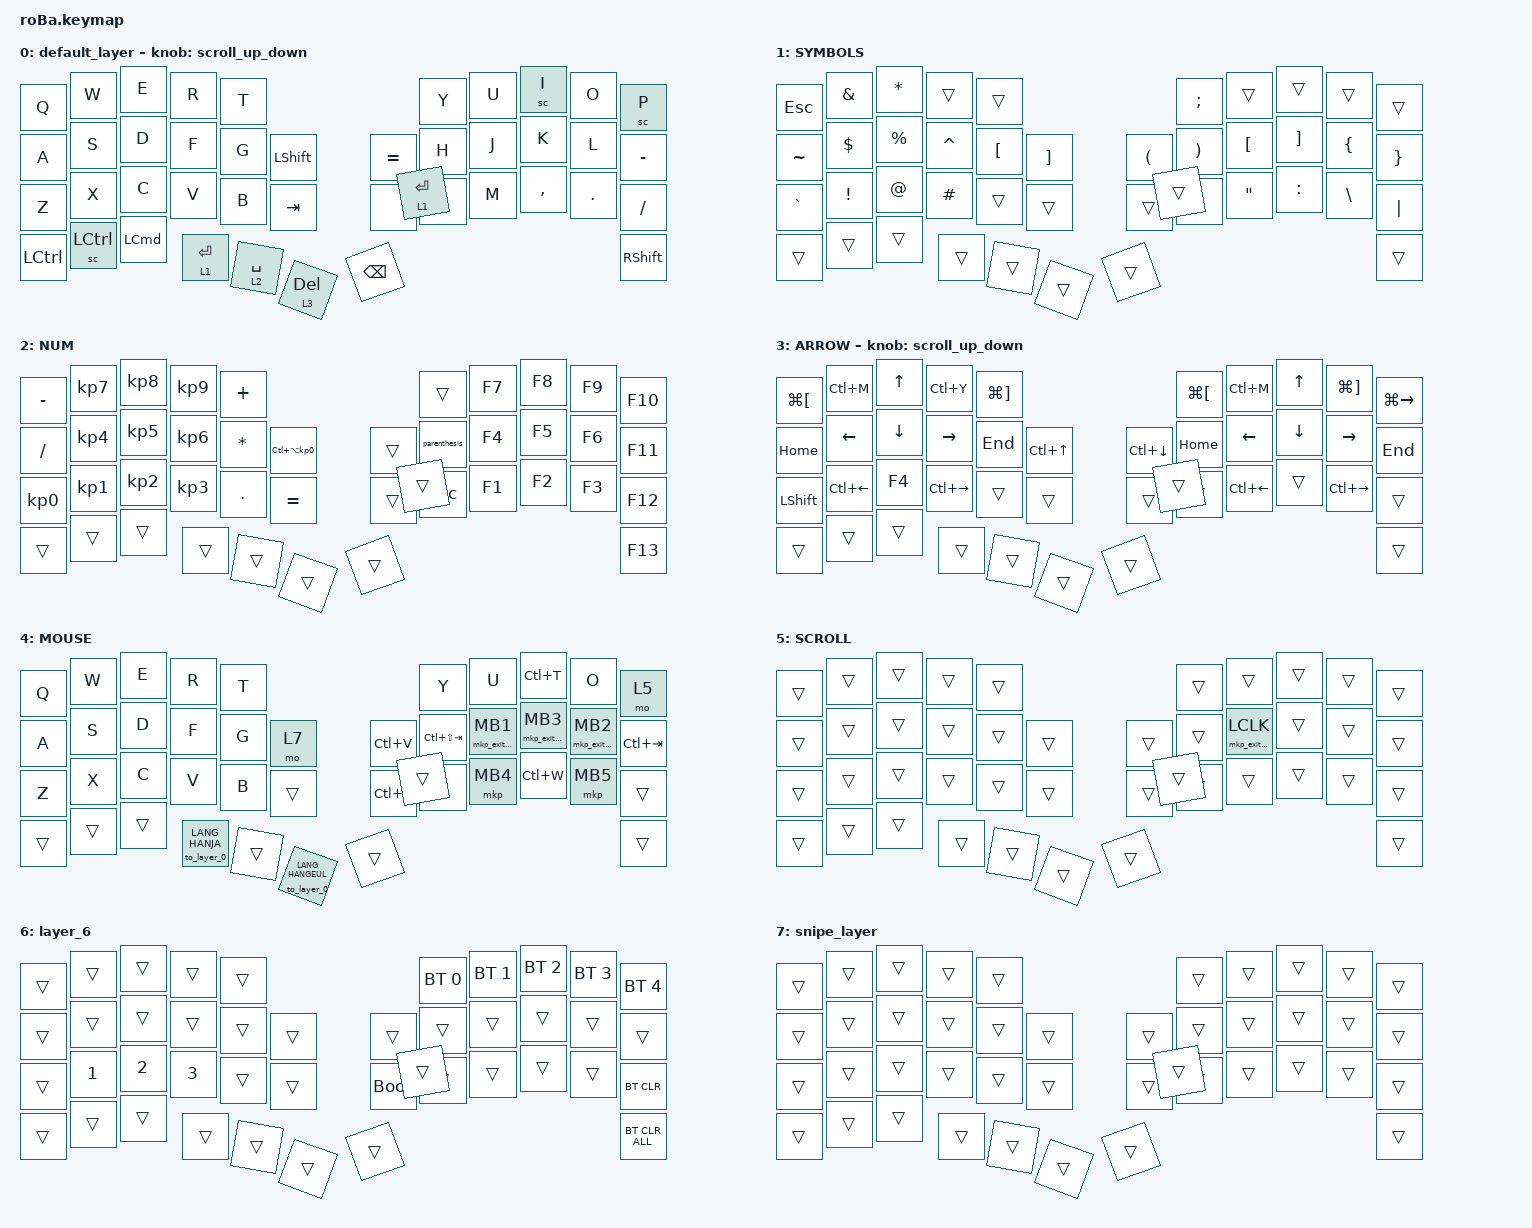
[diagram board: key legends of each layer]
#include <behaviors.dtsi>
#include <dt-bindings/zmk/bt.h>
#include <dt-bindings/zmk/keys.h>
#include <dt-bindings/zmk/pointing.h>

#define ZMK_MOUSE_DEFAULT_SCRL_VAL 100
#define MOUSE 4
#define SCROLL 5
#define NUM 6

/* 【変更1】&mt の上書き（hold-preferred / quick-tap-ms=0）は削除。
   理由：文字キーのモッドタップ（Z・SLASH・TAB・NUM層KP0）を全廃したため
   &mt の使用箇所がなくなる。TAB を &mt LG(O) TAB に戻す場合はこの上書きも復活させること。 */

&sl { release-after-ms = <250>; };

/ {
    combos {
        compatible = "zmk,combos";

        BT0 {
            bindings = <&bt BT_SEL 0>;
            key-positions = <28>;
        };

        BT1 {
            bindings = <&bt BT_SEL 1>;
            key-positions = <28 23>;
        };

        BT2 {
            bindings = <&bt BT_SEL 2>;
            key-positions = <28 24>;
        };

        /* 【変更2】打鍵効率用のコンボを追加（すべて第0層限定。
           BT系コンボとは位置が重ならないことを確認済み。
           ローマ字入力では子音の後に必ず母音が挟まるため、
           これらの同時押しが通常打鍵のロールで誤発することは構造的にない） */

        combo_tab: combo_tab {
            bindings = <&kp TAB>;
            key-positions = <11 12>; /* S + D（旧設定で使っていたコンボの復活） */
            layers = <0>;
            timeout-ms = <50>;
        };

        combo_stab: combo_stab {
            bindings = <&kp LS(TAB)>;
            key-positions = <12 13>; /* D + F（旧設定の復活） */
            layers = <0>;
            timeout-ms = <50>;
        };

        combo_esc: combo_esc {
            bindings = <&kp ESCAPE>;
            key-positions = <14 17>; /* G + H（両手内側ホームポジション） */
            layers = <0>;
            timeout-ms = <50>;
        };

        combo_kagi: combo_kagi {
            bindings = <&kagi>;
            key-positions = <18 19>; /* J + K → 「」 */
            layers = <0>;
            timeout-ms = <50>;
        };

        combo_nijukagi: combo_nijukagi {
            bindings = <&nijukagi>;
            key-positions = <19 20>; /* K + L → 『』 */
            layers = <0>;
            timeout-ms = <50>;
        };
    };

    macros {
        to_layer_0: to_layer_0 {
            compatible = "zmk,behavior-macro-one-param";
            #binding-cells = <1>;
            bindings = <&to 0 &macro_param_1to1 &kp MACRO_PLACEHOLDER>;
            label = "TO_LAYER_0";
        };

        mkp_exit_AML: mkp_exit_AML {
            compatible = "zmk,behavior-macro-one-param";
            #binding-cells = <1>;
            bindings =
                <&macro_press>,
                <&macro_param_1to1 &mkp MACRO_PLACEHOLDER>,
                <&macro_pause_for_release>,
                <&macro_release>,
                <&macro_param_1to1 &mkp MACRO_PLACEHOLDER>,
                <&macro_tap>,
                <&sl 4>;

            label = "MKP_EXIT_AML";
        };

        parenthesis: parenthesis {
            compatible = "zmk,behavior-macro";
            #binding-cells = <0>;
            bindings = <&kp LANG_HANJA &kp LEFT_PARENTHESIS &kp RIGHT_PARENTHESIS &kp LEFT_ARROW>;
            label = "parenthesis";
        };

        /* 【変更3】日本語括弧ペアのマクロを parenthesis と同じ型で追加。
           LANG_HANGEUL = かな（LANGUAGE_1）、LANG_HANJA = 英数（LANGUAGE_2）として
           macOS が JIS 配列として認識している前提（既存の MOUSE 層・parenthesis の運用と同じ）。
           かな入力中に [ ] は「」、{ } は『』になる（macOS 日本語IMEの標準動作）ことを利用する。 */

        kagi: kagi {
            compatible = "zmk,behavior-macro";
            #binding-cells = <0>;
            bindings = <&kp LANG_HANGEUL &kp LEFT_BRACKET &kp RIGHT_BRACKET &kp LEFT_ARROW>;
            label = "KAGI";
        };

        nijukagi: nijukagi {
            compatible = "zmk,behavior-macro";
            #binding-cells = <0>;
            bindings = <&kp LANG_HANGEUL &kp LEFT_BRACE &kp RIGHT_BRACE &kp LEFT_ARROW>;
            label = "NIJUKAGI";
        };

        /* 追加：スクロール制御マクロ */

       sc: scroll_control {
        compatible = "zmk,behavior-macro";
        #binding-cells = <0>;
        wait-ms = <0>;
        tap-ms = <0>;
        bindings =
            <&macro_press>,
            <&mo 5 &kp LGUI>, /* Command(LGUI)とレイヤー5を同時にON */
            <&macro_pause_for_release>,
            <&macro_release>,
            <&kp LGUI &mo 5>; /* 指を離したら両方OFF */
        label = "Scroll Zoom Mac";
        };
    };

    behaviors {
        scroll_up_down: behavior_sensor_rotate_mouse_wheel_up_down {
            compatible = "zmk,behavior-sensor-rotate";
            #sensor-binding-cells = <0>;
            bindings = <&msc SCRL_UP>, <&msc SCRL_DOWN>;

            tap-ms = <20>;
        };

        /* 追加：ズーム/タップ切り替え挙動 */

        zp: zoom_tap {
        compatible = "zmk,behavior-hold-tap";
        label = "Zoom / Tap";
        #binding-cells = <2>;
        bindings = <&sc>, <&kp>;
        tapping-term-ms = <200>;
        flavor = "balanced";
        hold-while-undecided; /* ボールを動かした瞬間にHold判定（ズーム開始） */
        };

        /* 【変更4】文字キー（I・P）専用の zp 派生。
           require-prior-idle-ms = 直前の打鍵から150ms以内はホールド判定をせず
           タップ（文字）として確定させる。打鍵の流れの中で I・P に指が残って
           ズーム（Cmd保持＋SCROLL層）が誤発するのを防ぐ。
           親指の Ctrl（位置35）は従来どおり &zp のまま（意図的な操作が前提の位置のため）。
           戻し方：default_layer の &zp_key を &zp に戻すだけ。 */

        zp_key: zoom_tap_key {
        compatible = "zmk,behavior-hold-tap";
        label = "Zoom / Tap (letters)";
        #binding-cells = <2>;
        bindings = <&sc>, <&kp>;
        tapping-term-ms = <200>;
        flavor = "balanced";
        hold-while-undecided;
        require-prior-idle-ms = <150>;
        };
    };

    keymap {
        compatible = "zmk,keymap";

        /* 【変更9】括弧マクロ &parenthesis の移設（2026-11-18 本人の追加指示）。
           default 層の位置28は BT0 コンボ（key-positions <28> 単独・層制限なし）が
           押下を先に消費するため、そこの binding はどの層でも到達不能だった。
           位置28の binding は &none とし、このキーの機能は BT0 コンボ側にあることを
           明示する（BT0/BT1/BT2 の発火条件は従来どおり不変）。
           &parenthesis は NUM 層の位置17（右手ホーム行・人差し指）へ移設し、
           数字入力中にそのまま括弧が打てるようにする。マクロ定義自体は無変更。 */

        default_layer {
            bindings = <
&kp Q             &kp W               &kp E             &kp R        &kp T                                          &kp Y        &kp U  &zp_key 0 I  &kp O    &zp_key 0 P
&kp A             &kp S               &kp D             &kp F        &kp G        &kp LEFT_SHIFT     &kp EQUAL      &kp H        &kp J  &kp K      &kp L    &kp MINUS
&kp Z             &kp X               &kp C             &kp V        &kp B        &kp TAB            &none          &kp N        &kp M  &kp COMMA  &kp DOT  &kp SLASH
&kp LEFT_CONTROL  &zp 0 LEFT_CONTROL  &kp LEFT_COMMAND  &lt 1 ENTER  &lt 2 SPACE  &lt 3 DEL          &kp BACKSPACE  &lt 1 ENTER                             &kp RIGHT_SHIFT
            >;

            sensor-bindings = <&scroll_up_down>;
        };

        /* 【変更10】括弧類の集約（2026-11-18 本人の追加指示）。
           通常の括弧キーは SYMBOLS 層でひとまとまりにそろえる：右手ホーム行
           （位置16〜21）を ( ) [ ] { } の3ペア集約とする。押し出された SEMICOLON は
           集約で空いた上段の位置5へ移設。上段に複製されていた ( )（位置3・4・6）は
           &trans とする（左手側は位置14・15の [ ] が対向手用として残る）。
           自動入力マクロ &parenthesis は NUM 層（変更9）という振り分け。 */

        SYMBOLS {
            bindings = <
&kp ESCAPE  &kp AMPERSAND    &kp ASTERISK  &trans  &trans                      &kp SEMICOLON  &trans  &trans         &trans             &trans
&kp TILDE   &kp DOLLAR       &kp PERCENT   &kp CARET             &kp LEFT_BRACKET       &kp RIGHT_BRACKET  &kp LEFT_PARENTHESIS  &kp RIGHT_PARENTHESIS   &kp LEFT_BRACKET      &kp RIGHT_BRACKET  &kp LEFT_BRACE   &kp RIGHT_BRACE
&kp GRAVE   &kp EXCLAMATION  &kp AT_SIGN   &kp HASH              &trans                 &trans      &trans  &kp SINGLE_QUOTE      &kp DOUBLE_QUOTES      &kp COLON      &kp BACKSLASH      &kp PIPE
&trans      &trans           &trans        &trans                &trans                 &trans      &trans  &trans                                                                         &trans
            >;
        };

        NUM {
            bindings = <
&kp MINUS                   &kp KP_NUMBER_7  &kp KP_NUMBER_8  &kp KP_NUMBER_9  &kp PLUS                                           &trans      &kp F7  &kp F8  &kp F9  &kp F10
&kp SLASH                   &kp KP_NUMBER_4  &kp KP_NUMBER_5  &kp KP_NUMBER_6  &kp ASTERISK  &kp LC(LA(KP_NUMBER_0))      &trans  &parenthesis  &kp F4  &kp F5  &kp F6  &kp F11
&kp KP_NUMBER_0             &kp KP_NUMBER_1  &kp KP_NUMBER_2  &kp KP_NUMBER_3  &kp PERIOD    &kp EQUAL                    &trans  &kp ESCAPE  &kp F1  &kp F2  &kp F3  &kp F12
&trans                      &trans           &trans           &trans           &trans        &trans                       &trans  &trans                              &kp F13
            >;
        };

        /* 【変更11】macOS機能の割り当て追加（ARROW層の空き位置）。
           位置15 = Ctrl+↑（Mission Control）、位置16 = Ctrl+↓（アプリケーション
           ウィンドウ表示）はいずれも macOS の既定ショートカット。位置24 = F4
           （Launchpad。macOS の「F1、F2などのキーを標準ファンクションキーとして
           使用」がオフの場合に効く。環境により効かない場合は判断点として §4 に記載）。
           スペース（デスクトップ）移動は、既存の LC(LEFT)/LC(RIGHT)（位置23・25ほか）が
           macOS 既定の Ctrl+←/→ そのものなので新規割り当ては不要。 */

        ARROW {
            bindings = <
&kp LG(LEFT_BRACKET)  &kp LC(M)       &kp UP_ARROW    &kp LC(Y)        &kp LG(RIGHT_BRACKET)                      &kp LG(LEFT_BRACKET)  &kp LC(M)           &kp UP_ARROW    &kp LG(RIGHT_BRACKET)  &kp LG(RIGHT_ARROW)
&kp HOME              &kp LEFT_ARROW  &kp DOWN_ARROW  &kp RIGHT_ARROW  &kp END                &kp LC(UP_ARROW)      &kp LC(DOWN_ARROW)  &kp HOME              &kp LEFT_ARROW      &kp DOWN_ARROW  &kp RIGHT_ARROW        &kp END
&kp LEFT_SHIFT        &kp LC(LEFT)    &kp F4          &kp LC(RIGHT)    &trans                 &trans      &trans  &trans                &kp LC(LEFT_ARROW)  &trans          &kp LC(RIGHT)          &trans
&trans                &trans          &trans          &trans           &trans                 &trans      &trans  &trans                                                                           &trans
            >;

            sensor-bindings = <&scroll_up_down>;
        };

        /* 【変更12】オートレイヤー（自動マウス層）まわりの簡素化。
           文字キー19個の &to_layer_0 X（押すと第0層へ戻って文字を打つマクロ）を
           通常の &kp X に置き換え、MOUSE 層に留まったまま打鍵できるようにする。
           MOUSE 層には全文字が揃っているため打鍵自体は完結する。層の退出は
           (1) 親指の &to_layer_0 LANG_HANJA / LANG_HANGEUL（現行どおり残置）、
           (2) automouse のタイムアウトに委ねる。タイムアウトは変更13で
           100000ms → 20000ms への短縮が決定・実装済み（roBa_R.conf.draft、§6.9）。
           マウスボタンの mkp_exit_AML（クリック後に &sl 4 で層へ戻る）は現行どおり。
           挙動の Before/After は proposal.md §6.5 に明示した。
           【変更14】位置15に &mo 7（スナイプ層への入り口）を追加。下記 snipe_layer の
           コメントを参照。 */

        MOUSE {
            bindings = <
&kp Q  &kp W  &kp E  &kp R           &kp T                                           &kp Y    &kp U      &kp LC(T)          &kp O      &mo 5
&kp A  &kp S  &kp D  &kp F           &kp G  &mo 7                          &kp LC(V)  &kp LC(LS(TAB))  &mkp_exit_AML MB1  &mkp_exit_AML MB3  &mkp_exit_AML MB2  &kp LC(TAB)
&kp Z  &kp X  &kp C  &kp V           &kp B  &trans                        &kp LC(C)  &kp N    &mkp MB4           &kp LC(W)          &mkp MB5           &trans
&trans         &trans         &trans         &to_layer_0 LANG_HANJA  &trans         &to_layer_0 LANG_HANGEUL      &trans     &trans                                                                    &trans
            >;
        };

        SCROLL {
            bindings = <
&trans  &trans  &trans  &trans  &trans                      &trans  &trans              &trans  &trans  &trans
&trans  &trans  &trans  &trans  &trans  &trans      &trans  &trans  &mkp_exit_AML LCLK  &trans  &trans  &trans
&trans  &trans  &trans  &trans  &trans  &trans      &trans  &trans  &trans              &trans  &trans  &trans
&trans  &trans  &trans  &trans  &trans  &trans      &trans  &trans                                      &trans
            >;
        };

        layer_6 {
            bindings = <
&trans  &trans        &trans        &trans        &trans                           &bt BT_SEL 0  &bt BT_SEL 1  &bt BT_SEL 2  &bt BT_SEL 3  &bt BT_SEL 4
&trans  &trans        &trans        &trans        &trans  &trans      &trans       &trans        &trans        &trans        &trans        &trans
&trans  &kp NUMBER_1  &kp NUMBER_2  &kp NUMBER_3  &trans  &trans      &bootloader  &trans        &trans        &trans        &trans        &bt BT_CLR
&trans  &trans        &trans        &trans        &trans  &trans      &trans       &trans                                                  &bt BT_CLR_ALL
            >;
        };

        /* 【変更14】スナイプ（低速・精密操作）層＝レイヤー7（2026-11-18 本人の決定で実装）。
           ドライバ（kumamuk-git zmk-pmw3610-driver）のネイティブ機能を使う:
           roBa_R.overlay の trackball ノードに snipe-layers = <7> を指定し（overlay.draft）、
           最高位の有効レイヤーが7の間だけセンサー CPI が CONFIG_PMW3610_SNIPE_CPI
           （=200、roBa_R.conf.draft で明示）へ切り替わる。本層は全 &trans で、
           キーは下層（MOUSE 層）のまま効く。トラックボールの報告値だけが低速になる。
           入り口は MOUSE 層の位置15の &mo 7（押している間だけ有効）:
           精密操作は MOUSE 層の滞在中に行い、その間 右手はボールを操作しているため、
           保持は左手側でなければならない。位置15は左手ホーム行の内側キー（G の隣）で
           &trans の空きだった。詳細と根拠は proposal.md §6.9。 */

        snipe_layer {
            bindings = <
&trans  &trans  &trans  &trans  &trans                      &trans  &trans  &trans  &trans  &trans
&trans  &trans  &trans  &trans  &trans  &trans      &trans  &trans  &trans  &trans  &trans  &trans
&trans  &trans  &trans  &trans  &trans  &trans      &trans  &trans  &trans  &trans  &trans  &trans
&trans  &trans  &trans  &trans  &trans  &trans      &trans  &trans                              &trans
            >;
        };
    };
};
